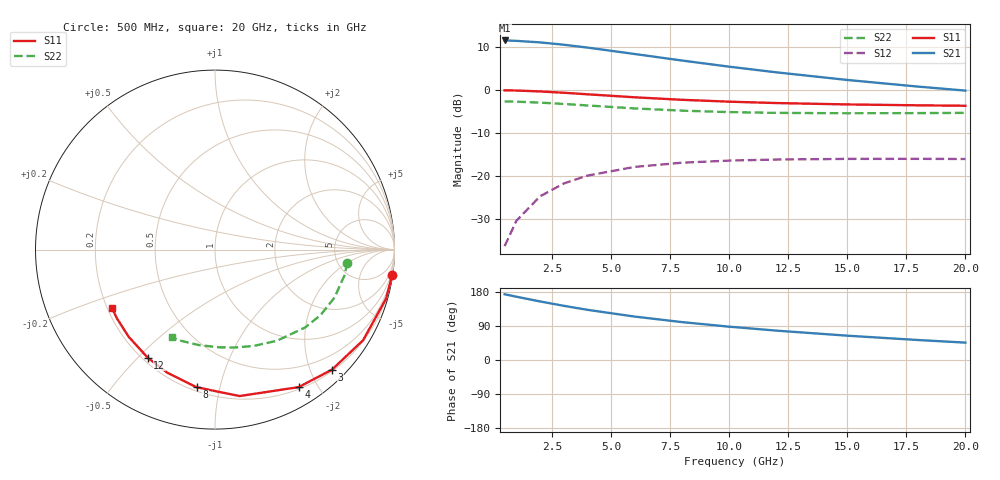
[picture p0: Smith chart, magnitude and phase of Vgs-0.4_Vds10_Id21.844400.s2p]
# Hz S RI R 50
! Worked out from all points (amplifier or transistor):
!   12 points, 500 MHz to 20 GHz, reference 50 ohm
!   highest |S21| = 11.6 dB at 500 MHz (marker M1)
!   |S21| within 3 dB of that: start of sweep to 5.806 GHz
!   unconditionally stable (mu >= 1): 17.98 GHz to end of sweep
!   at 2 GHz: K = 0.10, MSG = 17.9 dB, |S12| = -24.7 dB
!   at 8 GHz: K = 0.41, MSG = 11.9 dB, |S12| = -16.9 dB
!   at 20 GHz: K = 1.13, MAG = 5.7 dB, |S12| = -16.0 dB
!   S11 on the Smith chart (normalised r, x): 500 MHz: 0, -14; 3 GHz: 0.22, -2.35; 4 GHz: 0.22, -1.76; 8 GHz: 0.22, -0.85; 12 GHz: 0.22, -0.53; 20 GHz: 0.22, -0.25
5e8  0.9879 -0.1399  -3.764 0.4302  0.00148 0.0153  0.7372 -0.0724
1e9  0.9527 -0.2738  -3.652 0.8412  0.00579 0.0299  0.7219 -0.1424
2e9  0.8254 -0.5046  -3.248 1.544  0.0213 0.0543  0.6661 -0.267
3e9  0.6519 -0.6688  -2.7 2.033  0.0424 0.0705  0.5889 -0.3639
4e9  0.4659 -0.7663  -2.116 2.309  0.0647 0.0784  0.5042 -0.4329
6e9  0.1365 -0.8159  -1.098 2.398  0.1031 0.0763  0.3454 -0.5079
8e9  -0.1022 -0.7669  -0.3867 2.181  0.1292 0.0625  0.2154 -0.5368
1e10  -0.2645 -0.6866  0.0674 1.877  0.1449 0.0458  0.1107 -0.5454
1.2e10  -0.375 -0.602  0.3482 1.576  0.1536 0.0296  0.0228 -0.5445
1.5e10  -0.4815 -0.4851  0.5735 1.185  0.1588 0.0084  -0.0891 -0.5322
1.8e10  -0.5461 -0.3835  0.6671 0.8761  0.1589 -0.00882  -0.1843 -0.5094
2e10  -0.5749 -0.3233  0.6892 0.7102  0.1575 -0.0184  -0.2404 -0.4893
